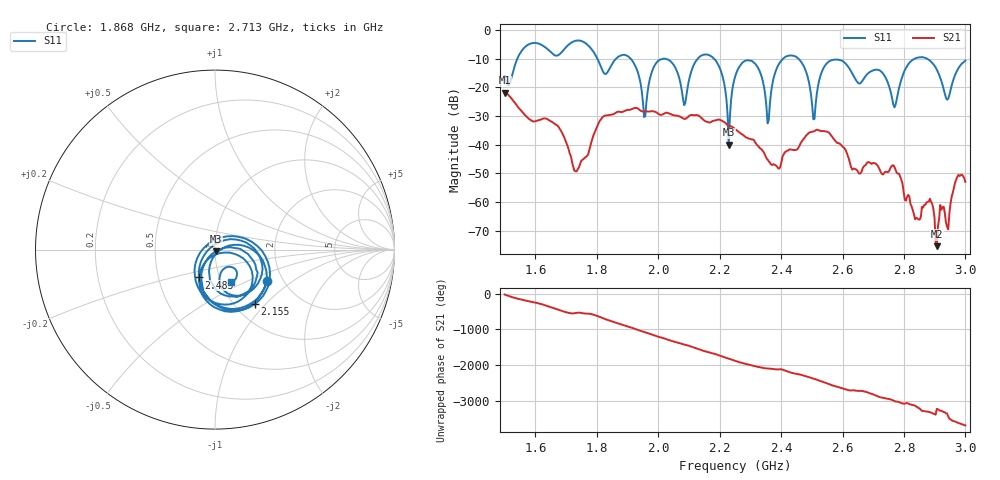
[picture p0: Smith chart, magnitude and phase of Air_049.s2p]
# HZ S RI R 50
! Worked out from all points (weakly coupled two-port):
!   404 points, 1.5 GHz to 3 GHz, reference 50 ohm
!   highest |S21| = -21.85 dB at 1.5 GHz (marker M1); lowest = -75.5 dB at 2.907 GHz (marker M2)
!   lowest |S11| = -40.0 dB at 2.23 GHz (marker M3), VSWR 1.02, Z = 50.3 - j0.943 ohm
!   |S11| at or under -10 dB: 2.182 GHz to 2.406 GHz (224.6 MHz wide, 9.79 % of centre); 2.457 GHz to 2.835 GHz (377.6 MHz wide, 14.3 % of centre); 2.875 GHz to end of sweep (the widest 3 of 7)
!   S12 and S22 are empty: the file has one direction only
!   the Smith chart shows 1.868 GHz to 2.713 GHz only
!   S11 on the Smith chart (normalised r, x): 1.868 GHz: 1.65, -0.65; 2.155 GHz: 1.23, -0.87; 2.483 GHz: 0.80, -0.26; 2.713 GHz: 1.11, -0.42
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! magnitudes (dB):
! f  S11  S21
! 1.5 GHz  -16.2  -21.8
! 1.578 GHz  -5.0  -30.9
! 1.753 GHz  -3.9  -45.3
! 1.868 GHz  -9.4  -28.5
! 1.958 GHz  -30.0  -28.4
! 2.002 GHz  -10.5  -29.4
! 2.084 GHz  -26.2  -31.0
! 2.155 GHz  -8.5  -31.9
! 2.203 GHz  -14.1  -31.5
! 2.23 GHz  -40.0  -33.4
! 2.252 GHz  -15.7  -34.7
! 2.315 GHz  -11.7  -39.2
! 2.356 GHz  -32.5  -45.2
! 2.408 GHz  -9.8  -43.5
! 2.483 GHz  -14.9  -36.7
! 2.501 GHz  -26.3  -35.5
! 2.561 GHz  -10.7  -36.5
! 2.713 GHz  -13.8  -47.2
! 2.751 GHz  -19.3  -49.4
! 2.907 GHz  -13.8  -75.5
! 2.94 GHz  -24.3  -68.7
! 3 GHz  -10.6  -53.0
